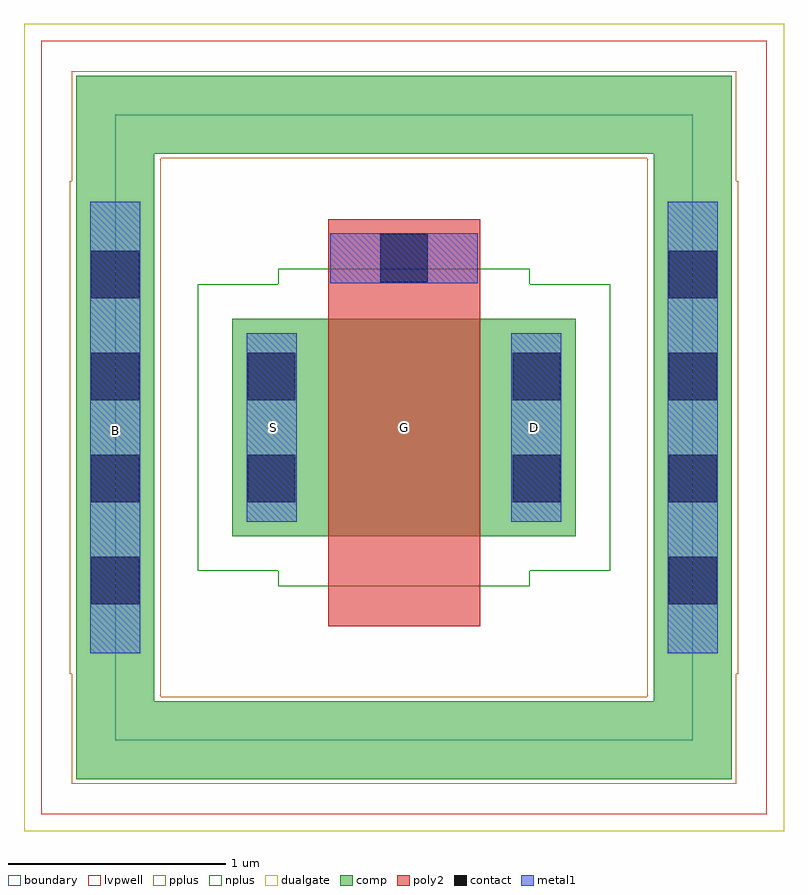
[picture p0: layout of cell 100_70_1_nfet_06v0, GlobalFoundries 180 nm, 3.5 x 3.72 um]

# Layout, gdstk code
import gdstk
lib = gdstk.Library(unit=1e-6, precision=1e-09)
def R(c, l, rs):  # rectangles x0, y0, x1, y1
    for r in rs: c.add(gdstk.rectangle(r[:2], r[2:], *l))
def A(c, l, x, y, w, h, nx, ny, dx, dy):  # array of equal rectangles
    R(c, l, [(x+i*dx, y+j*dy, x+i*dx+w, y+j*dy+h) for i in range(nx) for j in range(ny)])
boundary = (0, 0)
comp = (22, 0)
poly2 = (30, 0)
pplus = (31, 0)
nplus = (32, 0)
contact = (33, 0)
metal1 = (34, 0)
dualgate = (55, 0)
lvpwell = (204, 0)

c_100_70_1_nfet_06v0 = lib.new_cell('100_70_1_nfet_06v0')
R(c_100_70_1_nfet_06v0, boundary, [(-1.33,-1.44,1.33,1.44)])
R(c_100_70_1_nfet_06v0, comp, [(-1.51,-1.62,1.51,-1.26), (-1.51,-1.26,-1.15,1.26), (1.15,-1.26,1.51,1.26), (-0.79,-0.5,0.79,0.5), (-1.51,1.26,1.51,1.62)])
R(c_100_70_1_nfet_06v0, poly2, [(-0.35,-0.915,0.35,0.96)])
R(c_100_70_1_nfet_06v0, pplus, [(-1.53,-1.64,1.53,-1.24), (-1.53,-1.24,-1.12,-1.135), (1.12,-1.24,1.53,-1.135), (-1.54,-1.135,-1.12,1.135), (1.12,-1.135,1.54,1.135), (-1.53,1.135,-1.12,1.24), (1.12,1.135,1.53,1.24), (-1.53,1.24,1.53,1.64)])
R(c_100_70_1_nfet_06v0, nplus, [(-0.58,-0.73,0.58,-0.66), (-0.95,-0.66,0.95,0.66), (-0.58,0.66,0.58,0.73)])
A(c_100_70_1_nfet_06v0, contact, -1.44, -0.815, 0.22, 0.22, 1, 4, 0, 0.47)
A(c_100_70_1_nfet_06v0, contact, 1.22, -0.815, 0.22, 0.22, 1, 4, 0, 0.47)
R(c_100_70_1_nfet_06v0, contact, [(-0.72,-0.345,-0.5,-0.125), (0.5,-0.345,0.72,-0.125), (-0.72,0.125,-0.5,0.345), (0.5,0.125,0.72,0.345), (-0.11,0.67,0.11,0.89)])
R(c_100_70_1_nfet_06v0, metal1, [(-1.445,-1.04,-1.215,1.04), (1.215,-1.04,1.445,1.04), (-0.725,-0.435,-0.495,0.435), (0.495,-0.435,0.725,0.435), (-0.34,0.665,0.34,0.895)])
R(c_100_70_1_nfet_06v0, dualgate, [(-1.75,-1.86,1.75,1.86)])
R(c_100_70_1_nfet_06v0, lvpwell, [(-1.67,-1.78,1.67,1.78)])
c_100_70_1_nfet_06v0.add(gdstk.Label('D', (0.6,0), layer=34, texttype=0))
c_100_70_1_nfet_06v0.add(gdstk.Label('S', (-0.6,0), layer=34, texttype=0))
c_100_70_1_nfet_06v0.add(gdstk.Label('G', (0,0), layer=30, texttype=10))
c_100_70_1_nfet_06v0.add(gdstk.Label('B', (-1.33,-0.015), layer=30, texttype=10))

lib.write_gds('100_70_1_nfet_06v0.gds')
